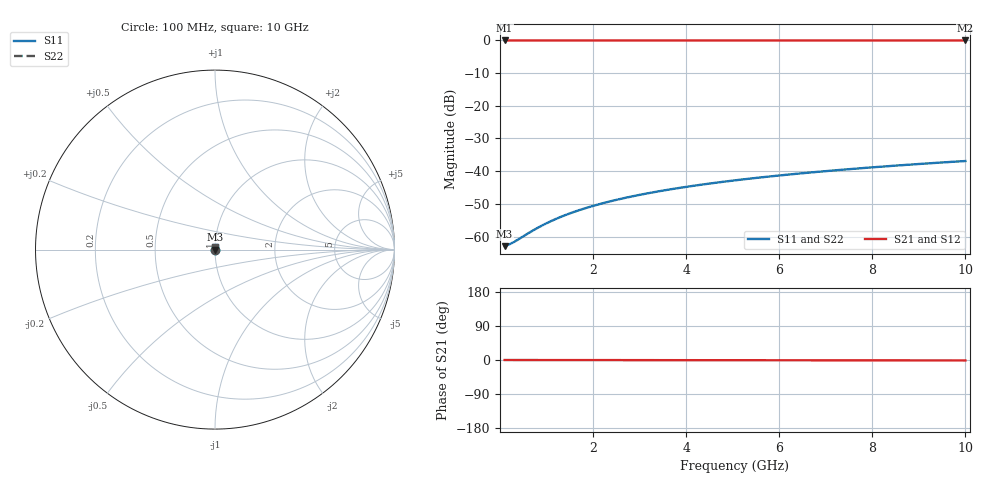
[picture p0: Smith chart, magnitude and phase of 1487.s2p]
# Hz S RI R 50.00
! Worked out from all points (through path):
!   100 points, 100 MHz to 10 GHz, reference 50 ohm
!   highest |S21| = -0.01 dB at 100 MHz (marker M1); lowest = 0.0 dB at 10 GHz (marker M2)
!   lowest |S11| = -62.9 dB at 100 MHz (marker M3), VSWR 1.00, Z = 50.1 + j0.0143 ohm
!   |S11| at or under -10 dB: start of sweep to end of sweep
!   |S22| runs from -62.9 to -36.9 dB; largest |S21 - S12| = 0
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1e8  0.000698 0.000142  0.9993 -0.000195  0.9993 -0.000195  0.000698 0.000142
2e8  0.000703 0.000285  0.9993 -0.000391  0.9993 -0.000391  0.000703 0.000285
3e8  0.000707 0.000427  0.9993 -0.000586  0.9993 -0.000586  0.000707 0.000427
6e8  0.000714 0.000854  0.9993 -0.00117  0.9993 -0.00117  0.000714 0.000854
8e8  0.000719 0.00114  0.9993 -0.00156  0.9993 -0.00156  0.000719 0.00114
9e8  0.000721 0.00128  0.9993 -0.00176  0.9993 -0.00176  0.000721 0.00128
1.1e9  0.000725 0.00157  0.9993 -0.00215  0.9993 -0.00215  0.000725 0.00157
1.4e9  0.00073 0.00199  0.9993 -0.00274  0.9993 -0.00274  0.00073 0.00199
1.6e9  0.000734 0.00228  0.9993 -0.00313  0.9993 -0.00313  0.000734 0.00228
1.8e9  0.000738 0.00256  0.9993 -0.00352  0.9993 -0.00352  0.000738 0.00256
2.1e9  0.000744 0.00299  0.9993 -0.00411  0.9993 -0.00411  0.000744 0.00299
2.5e9  0.000753 0.00356  0.9992 -0.00489  0.9992 -0.00489  0.000753 0.00356
2.9e9  0.000762 0.00413  0.9992 -0.00567  0.9992 -0.00567  0.000762 0.00413
3.4e9  0.000774 0.00484  0.9992 -0.00665  0.9992 -0.00665  0.000774 0.00484
3.8e9  0.000785 0.00541  0.9992 -0.00743  0.9992 -0.00743  0.000785 0.00541
4.2e9  0.000796 0.00598  0.9992 -0.00821  0.9992 -0.00821  0.000796 0.00598
5.1e9  0.000825 0.00727  0.9992 -0.00998  0.9992 -0.00998  0.000825 0.00727
5.9e9  0.000854 0.00841  0.9991 -0.0115  0.9991 -0.0115  0.000854 0.00841
6.7e9  0.000886 0.00955  0.9991 -0.0131  0.9991 -0.0131  0.000886 0.00955
7.5e9  0.000922 0.0107  0.9991 -0.0147  0.9991 -0.0147  0.000922 0.0107
8.4e9  0.000967 0.012  0.999 -0.0164  0.999 -0.0164  0.000967 0.012
1e10  0.00106 0.0143  0.9989 -0.0196  0.9989 -0.0196  0.00106 0.0143
